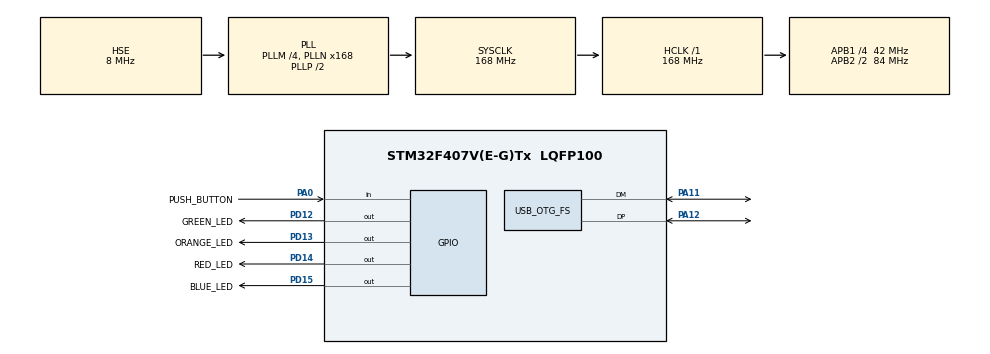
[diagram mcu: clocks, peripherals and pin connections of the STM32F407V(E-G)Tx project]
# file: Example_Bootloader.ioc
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Mcu.Family=STM32F4
Mcu.Name=STM32F407V(E-G)Tx
Mcu.Package=LQFP100
NVIC.OTG_FS_IRQn=true\:0\:0\:false\:false\:true\:true\:true\:true
NVIC.PriorityGroup=NVIC_PRIORITYGROUP_0
PA0-WKUP.GPIO_Label=PUSH_BUTTON
PA0-WKUP.Signal=GPIO_Input
PA11.Mode=Device_Only
PA11.Signal=USB_OTG_FS_DM
PA12.Mode=Device_Only
PA12.Signal=USB_OTG_FS_DP
PD12.GPIO_Label=GREEN_LED
PD12.Signal=GPIO_Output
PD13.GPIO_Label=ORANGE_LED
PD13.Signal=GPIO_Output
PD14.GPIO_Label=RED_LED
PD14.Signal=GPIO_Output
PD15.GPIO_Label=BLUE_LED
PD15.Signal=GPIO_Output
PH0-OSC_IN.Mode=HSE-External-Oscillator
PH0-OSC_IN.Signal=RCC_OSC_IN
PH1-OSC_OUT.Mode=HSE-External-Oscillator
PH1-OSC_OUT.Signal=RCC_OSC_OUT
ProjectManager.HeapSize=0x200
ProjectManager.StackSize=0x400
ProjectManager.TargetToolchain=STM32CubeIDE
RCC.48MHZClocksFreq_Value=48000000
RCC.AHBFreq_Value=168000000
RCC.APB1CLKDivider=RCC_HCLK_DIV4
RCC.APB1Freq_Value=42000000
RCC.APB1TimFreq_Value=84000000
RCC.APB2CLKDivider=RCC_HCLK_DIV2
RCC.APB2Freq_Value=84000000
RCC.APB2TimFreq_Value=168000000
RCC.CortexFreq_Value=168000000
RCC.HCLKFreq_Value=168000000
RCC.HSE_VALUE=8000000
RCC.HSI_VALUE=16000000
RCC.LSE_VALUE=32768
RCC.PLLM=4
RCC.PLLN=168
RCC.PLLQ=7
RCC.PLLSourceVirtual=RCC_PLLSOURCE_HSE
RCC.SYSCLKFreq_VALUE=168000000
RCC.SYSCLKSource=RCC_SYSCLKSOURCE_PLLCLK
RCC.VCOOutputFreq_Value=336000000
USB_DEVICE.CLASS_NAME_FS=CDC
USB_DEVICE.VirtualMode-CDC_FS=Cdc
USB_DEVICE.VirtualModeFS=Cdc_FS
USB_OTG_FS.VirtualMode=Device_Only
VP_USB_DEVICE_VS_USB_DEVICE_CDC_FS.Mode=CDC_FS
board=STM32F407G-DISC1

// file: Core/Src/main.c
/* USER CODE BEGIN Header */
/**
  ******************************************************************************
  * @file           : main.c
  * @brief          : Main program body
  ******************************************************************************
  * @attention
  *
  * Copyright (c) 2024 STMicroelectronics.
  * All rights reserved.
  *
  * This software is licensed under terms that can be found in the LICENSE file
  * in the root directory of this software component.
  * If no LICENSE file comes with this software, it is provided AS-IS.
  *
  ******************************************************************************
  */
/* USER CODE END Header */
#include "main.h"
#include "usb_device.h"

/* USER CODE BEGIN Includes */
#include "usbd_cdc_if.h"
/* USER CODE END Includes */

/* USER CODE BEGIN PTD */
#define APP_START_ADDRESS 0x08008000
/* USER CODE END PTD */

/* USER CODE BEGIN PV */
typedef void (*pFunction)(void);
pFunction JumpToApp;
/* USER CODE END PV */

void SystemClock_Config(void);
static void MX_GPIO_Init(void);
/* USER CODE BEGIN PFP */
typedef void (*pFunction)(void);  // Function pointer to application start
void LED_Init(void);   // Function to initialize LEDs
void RedLED_On(void);  // Turn on Red LED
void RedLED_Off(void);  // Turn off Red LED
void RedLED_Toggle(void); // Toggle Red LED
void delay(volatile uint32_t time);  // Simple delay function
void  jump_to_application();
uint8_t CDC_Transmit_FS(uint8_t* Buf, uint16_t Len);
/* USER CODE END PFP */

int main(void)
{

  /* MCU Configuration--------------------------------------------------------*/

  /* Reset of all peripherals, Initializes the Flash interface and the Systick. */
  HAL_Init();

  /* Configure the system clock */
  SystemClock_Config();

  /* Initialize all configured peripherals */
  MX_GPIO_Init();
  MX_USB_DEVICE_Init();
  /* USER CODE BEGIN 2 */
//  LED_Init();
//  // Step 2: Toggle Red LED to indicate bootloader mode
//     int counter = 0;
//     while (counter < 10000000) {  // Roughly 10 seconds delay (based on loop time)
//         RedLED_Toggle();      // Toggle Red LED
//         delay(500000);        // Software delay for ~500ms
//         counter++;
//     }
//
//     // Step 3: After 10 seconds, turn off Red LED and jump to Application
//     RedLED_Off();  // Turn off Red LED
//
//     uint32_t appAddress = 0x08008000;  // Main application starts at 0x08008000
//     pFunction appStart = (pFunction)(*(volatile uint32_t*) (appAddress + 4));  // Address of Reset handler (second word in the vector table)
//
//     // Set the stack pointer to the beginning of the application
//     __set_MSP(*(volatile uint32_t*)appAddress);
//
//     // Step 4: Jump to the application
//     appStart();      // Jump to the application

     // If code reaches here, something went wrong
  /* USER CODE END 2 */

  /* Infinite loop */
  while (1)
  {

    /* USER CODE BEGIN 3 */
	  HAL_GPIO_TogglePin(RED_LED_GPIO_Port, RED_LED_Pin);
	  HAL_Delay(500);  // Blink delay

	  if (HAL_GPIO_ReadPin(PUSH_BUTTON_GPIO_Port, PUSH_BUTTON_Pin) == GPIO_PIN_SET) {
		  // Indicate application start
		  HAL_GPIO_WritePin(ORANGE_LED_GPIO_Port, ORANGE_LED_Pin, GPIO_PIN_SET);  // Turn on LED2

		  HAL_Delay(500);  // Small delay before jumping
		  jump_to_application();
	  }
  }
  /* USER CODE END 3 */
}

void SystemClock_Config(void)
{
  RCC_OscInitTypeDef RCC_OscInitStruct = {0};
  RCC_ClkInitTypeDef RCC_ClkInitStruct = {0};

  /** Configure the main internal regulator output voltage
  */
  __HAL_RCC_PWR_CLK_ENABLE();
  __HAL_PWR_VOLTAGESCALING_CONFIG(PWR_REGULATOR_VOLTAGE_SCALE1);

  /** Initializes the RCC Oscillators according to the specified parameters
  * in the RCC_OscInitTypeDef structure.
  */
  RCC_OscInitStruct.OscillatorType = RCC_OSCILLATORTYPE_HSE;
  RCC_OscInitStruct.HSEState = RCC_HSE_ON;
  RCC_OscInitStruct.PLL.PLLState = RCC_PLL_ON;
  RCC_OscInitStruct.PLL.PLLSource = RCC_PLLSOURCE_HSE;
  RCC_OscInitStruct.PLL.PLLM = 4;
  RCC_OscInitStruct.PLL.PLLN = 168;
  RCC_OscInitStruct.PLL.PLLP = RCC_PLLP_DIV2;
  RCC_OscInitStruct.PLL.PLLQ = 7;
  if (HAL_RCC_OscConfig(&RCC_OscInitStruct) != HAL_OK)
  {
    Error_Handler();
  }

  /** Initializes the CPU, AHB and APB buses clocks
  */
  RCC_ClkInitStruct.ClockType = RCC_CLOCKTYPE_HCLK|RCC_CLOCKTYPE_SYSCLK
                              |RCC_CLOCKTYPE_PCLK1|RCC_CLOCKTYPE_PCLK2;
  RCC_ClkInitStruct.SYSCLKSource = RCC_SYSCLKSOURCE_PLLCLK;
  RCC_ClkInitStruct.AHBCLKDivider = RCC_SYSCLK_DIV1;
  RCC_ClkInitStruct.APB1CLKDivider = RCC_HCLK_DIV4;
  RCC_ClkInitStruct.APB2CLKDivider = RCC_HCLK_DIV2;

  if (HAL_RCC_ClockConfig(&RCC_ClkInitStruct, FLASH_LATENCY_5) != HAL_OK)
  {
    Error_Handler();
  }
}

static void MX_GPIO_Init(void)
{
  GPIO_InitTypeDef GPIO_InitStruct = {0};

  /* GPIO Ports Clock Enable */
  __HAL_RCC_GPIOH_CLK_ENABLE();
  __HAL_RCC_GPIOA_CLK_ENABLE();
  __HAL_RCC_GPIOD_CLK_ENABLE();

  /*Configure GPIO pin Output Level */
  HAL_GPIO_WritePin(GPIOD, GREEN_LED_Pin|ORANGE_LED_Pin|RED_LED_Pin|BLUE_LED_Pin, GPIO_PIN_RESET);

  /*Configure GPIO pin : PUSH_BUTTON_Pin */
  GPIO_InitStruct.Pin = PUSH_BUTTON_Pin;
  GPIO_InitStruct.Mode = GPIO_MODE_INPUT;
  GPIO_InitStruct.Pull = GPIO_NOPULL;
  HAL_GPIO_Init(PUSH_BUTTON_GPIO_Port, &GPIO_InitStruct);

  /*Configure GPIO pins : GREEN_LED_Pin ORANGE_LED_Pin RED_LED_Pin BLUE_LED_Pin */
  GPIO_InitStruct.Pin = GREEN_LED_Pin|ORANGE_LED_Pin|RED_LED_Pin|BLUE_LED_Pin;
  GPIO_InitStruct.Mode = GPIO_MODE_OUTPUT_PP;
  GPIO_InitStruct.Pull = GPIO_NOPULL;
  GPIO_InitStruct.Speed = GPIO_SPEED_FREQ_LOW;
  HAL_GPIO_Init(GPIOD, &GPIO_InitStruct);

}

/* USER CODE BEGIN 4 */

void  jump_to_application(){
	uint32_t appStack = *((volatile uint32_t*)APP_START_ADDRESS);
	uint32_t appEntry = *((volatile uint32_t*)(APP_START_ADDRESS + 4));

	// Check if application is valid (First word in application stack should not be 0xFFFFFFFF)
	if (appStack == 0xFFFFFFFF || appEntry == 0xFFFFFFFF) {
		return; // Stay in bootloader
	}

	__disable_irq(); // Disable interrupts
	SCB->VTOR = APP_START_ADDRESS; // Set vector table to application

	__set_MSP(appStack); // Set stack pointer to application

	JumpToApp = (pFunction)appEntry;

	JumpToApp(); // Jump to application
}

/* USER CODE END 4 */

void Error_Handler(void)
{
  __disable_irq();
  while (1)
  {
  }
}
